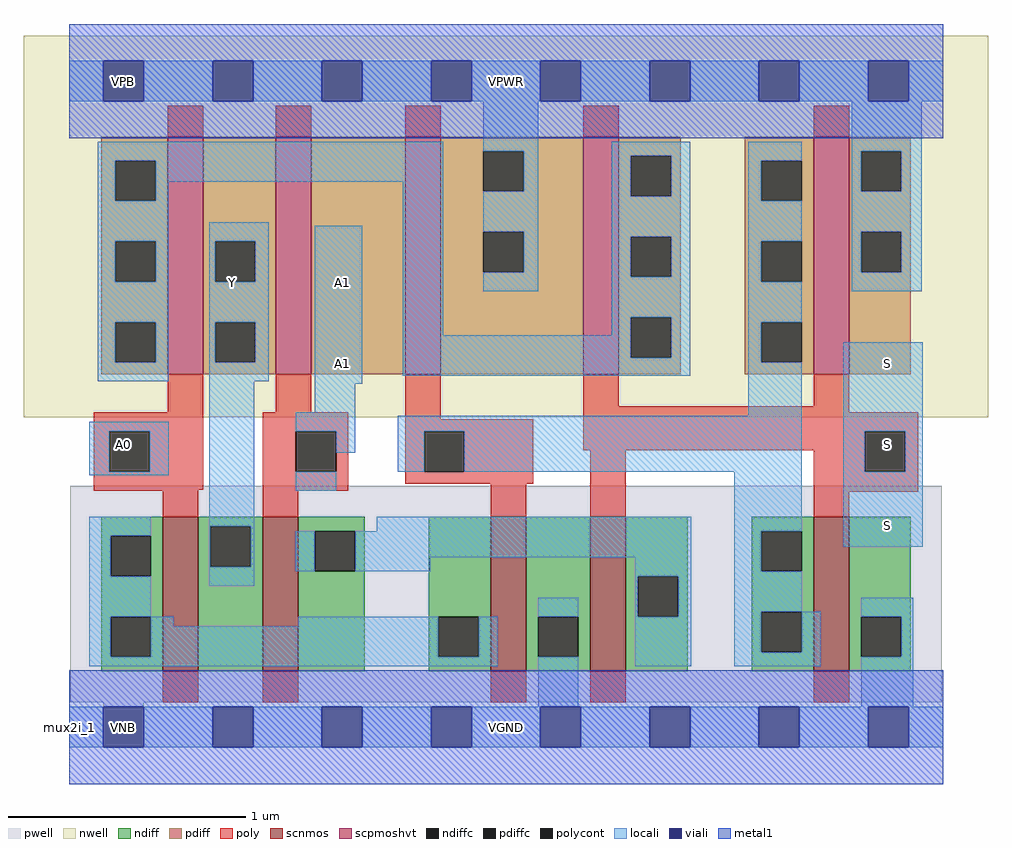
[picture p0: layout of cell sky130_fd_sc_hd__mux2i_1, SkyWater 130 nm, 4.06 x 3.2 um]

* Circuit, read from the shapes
.subckt sky130_fd_sc_hd__mux2i_1 A0 A1 S VGND VNB VPB VPWR Y
XM1 Y A0 n1 VNB sky130_fd_pr__nfet_01v8 w=0.65 l=0.15
XM2 n2 A1 Y VNB sky130_fd_pr__nfet_01v8 w=0.65 l=0.15
XM3 VGND n3 n1 VNB sky130_fd_pr__nfet_01v8 w=0.65 l=0.15
XM4 n2 S VGND VNB sky130_fd_pr__nfet_01v8 w=0.65 l=0.15
XM5 VGND S n3 VNB sky130_fd_pr__nfet_01v8 w=0.65 l=0.15
XM6 Y A0 n4 VPB sky130_fd_pr__pfet_01v8_hvt w=1 l=0.15
XM7 n5 A1 Y VPB sky130_fd_pr__pfet_01v8_hvt w=1 l=0.15
XM8 VPWR n3 n5 VPB sky130_fd_pr__pfet_01v8_hvt w=1 l=0.15
XM9 n4 S VPWR VPB sky130_fd_pr__pfet_01v8_hvt w=1 l=0.15
XM10 VPWR S n3 VPB sky130_fd_pr__pfet_01v8_hvt w=1 l=0.15
.ends

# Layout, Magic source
magic
tech sky130A
magscale 1 2
<< nwell >>
rect -38 261 774 582
<< pwell >>
rect 1 21 735 203
rect 29 -17 63 21
<< scnmos >>
rect 79 47 109 177
rect 163 47 193 177
rect 355 47 385 177
rect 439 47 469 177
rect 627 47 657 177
<< scpmoshvt >>
rect 83 297 113 497
rect 174 297 204 497
rect 283 297 313 497
rect 433 297 463 497
rect 627 297 657 497
<< ndiff >>
rect 27 161 79 177
rect 27 127 35 161
rect 69 127 79 161
rect 27 93 79 127
rect 27 59 35 93
rect 69 59 79 93
rect 27 47 79 59
rect 109 169 163 177
rect 109 135 119 169
rect 153 135 163 169
rect 109 47 163 135
rect 193 165 249 177
rect 193 131 207 165
rect 241 131 249 165
rect 193 47 249 131
rect 303 93 355 177
rect 303 59 311 93
rect 345 59 355 93
rect 303 47 355 59
rect 385 93 439 177
rect 385 59 395 93
rect 429 59 439 93
rect 385 47 439 59
rect 469 127 521 177
rect 469 93 479 127
rect 513 93 521 127
rect 469 47 521 93
rect 575 165 627 177
rect 575 131 583 165
rect 617 131 627 165
rect 575 97 627 131
rect 575 63 583 97
rect 617 63 627 97
rect 575 47 627 63
rect 657 93 709 177
rect 657 59 667 93
rect 701 59 709 93
rect 657 47 709 59
<< pdiff >>
rect 27 477 83 497
rect 27 443 39 477
rect 73 443 83 477
rect 27 409 83 443
rect 27 375 39 409
rect 73 375 83 409
rect 27 341 83 375
rect 27 307 39 341
rect 73 307 83 341
rect 27 297 83 307
rect 113 409 174 497
rect 113 375 123 409
rect 157 375 174 409
rect 113 341 174 375
rect 113 307 123 341
rect 157 307 174 341
rect 113 297 174 307
rect 204 297 283 497
rect 313 485 433 497
rect 313 451 349 485
rect 383 451 433 485
rect 313 417 433 451
rect 313 383 349 417
rect 383 383 433 417
rect 313 297 433 383
rect 463 481 515 497
rect 463 447 473 481
rect 507 447 515 481
rect 463 413 515 447
rect 463 379 473 413
rect 507 379 515 413
rect 463 345 515 379
rect 463 311 473 345
rect 507 311 515 345
rect 463 297 515 311
rect 569 477 627 497
rect 569 443 583 477
rect 617 443 627 477
rect 569 409 627 443
rect 569 375 583 409
rect 617 375 627 409
rect 569 341 627 375
rect 569 307 583 341
rect 617 307 627 341
rect 569 297 627 307
rect 657 485 709 497
rect 657 451 667 485
rect 701 451 709 485
rect 657 417 709 451
rect 657 383 667 417
rect 701 383 709 417
rect 657 297 709 383
<< ndiffc >>
rect 35 127 69 161
rect 35 59 69 93
rect 119 135 153 169
rect 207 131 241 165
rect 311 59 345 93
rect 395 59 429 93
rect 479 93 513 127
rect 583 131 617 165
rect 583 63 617 97
rect 667 59 701 93
<< pdiffc >>
rect 39 443 73 477
rect 39 375 73 409
rect 39 307 73 341
rect 123 375 157 409
rect 123 307 157 341
rect 349 451 383 485
rect 349 383 383 417
rect 473 447 507 481
rect 473 379 507 413
rect 473 311 507 345
rect 583 443 617 477
rect 583 375 617 409
rect 583 307 617 341
rect 667 451 701 485
rect 667 383 701 417
<< poly >>
rect 83 497 113 523
rect 174 497 204 523
rect 283 497 313 523
rect 433 497 463 523
rect 627 497 657 523
rect 83 265 113 297
rect 174 265 204 297
rect 21 249 113 265
rect 21 215 34 249
rect 68 215 113 249
rect 21 200 113 215
rect 163 249 235 265
rect 163 215 191 249
rect 225 215 235 249
rect 21 199 109 200
rect 79 177 109 199
rect 163 199 235 215
rect 283 259 313 297
rect 433 270 463 297
rect 627 270 657 297
rect 433 265 657 270
rect 283 249 391 259
rect 283 215 299 249
rect 333 215 391 249
rect 433 249 715 265
rect 433 233 670 249
rect 283 205 391 215
rect 163 177 193 199
rect 355 177 385 205
rect 439 177 469 233
rect 627 215 670 233
rect 704 215 715 249
rect 627 198 715 215
rect 627 177 657 198
rect 79 21 109 47
rect 163 21 193 47
rect 355 21 385 47
rect 439 21 469 47
rect 627 21 657 47
<< polycont >>
rect 34 215 68 249
rect 191 215 225 249
rect 299 215 333 249
rect 670 215 704 249
<< locali >>
rect 0 527 29 561
rect 63 527 121 561
rect 155 527 213 561
rect 247 527 305 561
rect 339 527 397 561
rect 431 527 489 561
rect 523 527 581 561
rect 615 527 673 561
rect 707 527 736 561
rect 24 477 315 493
rect 24 443 39 477
rect 73 459 315 477
rect 73 443 84 459
rect 24 409 84 443
rect 24 375 39 409
rect 73 375 84 409
rect 24 341 84 375
rect 24 307 39 341
rect 73 307 84 341
rect 24 291 84 307
rect 118 409 168 425
rect 118 375 123 409
rect 157 375 168 409
rect 118 341 168 375
rect 118 307 123 341
rect 157 307 168 341
rect 118 291 168 307
rect 17 249 84 257
rect 17 215 34 249
rect 68 215 84 249
rect 17 212 84 215
rect 17 161 69 177
rect 17 127 35 161
rect 17 93 69 127
rect 118 169 156 291
rect 207 289 247 422
rect 281 330 315 459
rect 349 485 395 527
rect 383 451 395 485
rect 349 417 395 451
rect 383 383 395 417
rect 349 367 395 383
rect 457 481 523 493
rect 457 447 473 481
rect 507 447 523 481
rect 457 413 523 447
rect 457 379 473 413
rect 507 379 523 413
rect 457 345 523 379
rect 457 330 473 345
rect 281 311 473 330
rect 507 311 523 345
rect 281 296 523 311
rect 572 477 617 493
rect 572 443 583 477
rect 572 409 617 443
rect 572 375 583 409
rect 572 341 617 375
rect 659 485 718 527
rect 659 451 667 485
rect 701 451 718 485
rect 659 417 718 451
rect 659 383 667 417
rect 701 383 718 417
rect 659 367 718 383
rect 572 307 583 341
rect 207 265 241 289
rect 191 249 241 265
rect 572 262 617 307
rect 225 231 241 249
rect 277 249 617 262
rect 277 215 299 249
rect 333 215 617 249
rect 191 199 225 215
rect 118 135 119 169
rect 153 135 156 169
rect 259 165 524 177
rect 118 119 156 135
rect 191 131 207 165
rect 241 143 524 165
rect 241 131 304 143
rect 477 127 524 143
rect 395 93 429 109
rect 17 59 35 93
rect 69 85 88 93
rect 193 85 311 93
rect 69 59 311 85
rect 345 59 361 93
rect 17 51 361 59
rect 395 17 429 59
rect 477 93 479 127
rect 513 93 524 127
rect 477 51 524 93
rect 560 165 617 215
rect 560 131 583 165
rect 652 249 719 324
rect 652 215 670 249
rect 704 215 719 249
rect 652 152 719 215
rect 560 97 617 131
rect 560 63 583 97
rect 617 63 633 97
rect 560 51 633 63
rect 667 93 711 109
rect 701 59 711 93
rect 667 17 711 59
rect 0 -17 29 17
rect 63 -17 121 17
rect 155 -17 213 17
rect 247 -17 305 17
rect 339 -17 397 17
rect 431 -17 489 17
rect 523 -17 581 17
rect 615 -17 673 17
rect 707 -17 736 17
<< viali >>
rect 29 527 63 561
rect 121 527 155 561
rect 213 527 247 561
rect 305 527 339 561
rect 397 527 431 561
rect 489 527 523 561
rect 581 527 615 561
rect 673 527 707 561
rect 29 -17 63 17
rect 121 -17 155 17
rect 213 -17 247 17
rect 305 -17 339 17
rect 397 -17 431 17
rect 489 -17 523 17
rect 581 -17 615 17
rect 673 -17 707 17
<< metal1 >>
rect 0 561 736 592
rect 0 527 29 561
rect 63 527 121 561
rect 155 527 213 561
rect 247 527 305 561
rect 339 527 397 561
rect 431 527 489 561
rect 523 527 581 561
rect 615 527 673 561
rect 707 527 736 561
rect 0 496 736 527
rect 0 17 736 48
rect 0 -17 29 17
rect 63 -17 121 17
rect 155 -17 213 17
rect 247 -17 305 17
rect 339 -17 397 17
rect 431 -17 489 17
rect 523 -17 581 17
rect 615 -17 673 17
rect 707 -17 736 17
rect 0 -48 736 -17
<< labels >>
flabel locali s 213 357 247 391 0 FreeSans 200 0 0 0 A1
port 2 nsew signal input
flabel locali s 672 221 706 255 0 FreeSans 200 0 0 0 S
port 3 nsew signal input
flabel locali s 672 153 706 187 0 FreeSans 200 0 0 0 S
port 3 nsew signal input
flabel locali s 672 289 706 323 0 FreeSans 200 0 0 0 S
port 3 nsew signal input
flabel locali s 29 221 63 255 0 FreeSans 200 0 0 0 A0
port 1 nsew signal input
flabel locali s 213 289 247 323 0 FreeSans 200 0 0 0 A1
port 2 nsew signal input
flabel locali s 121 357 155 391 0 FreeSans 200 0 0 0 Y
port 8 nsew signal output
flabel nwell s 29 527 63 561 0 FreeSans 200 0 0 0 VPB
port 6 nsew power bidirectional
flabel pwell s 29 -17 63 17 0 FreeSans 200 0 0 0 VNB
port 5 nsew ground bidirectional
flabel metal1 s 29 -17 63 17 0 FreeSans 200 0 0 0 VGND
port 4 nsew ground bidirectional abutment
flabel metal1 s 29 527 63 561 0 FreeSans 200 0 0 0 VPWR
port 7 nsew power bidirectional abutment
rlabel comment s 0 0 0 0 4 mux2i_1
rlabel metal1 s 0 -48 736 48 1 VGND
port 4 nsew ground bidirectional abutment
rlabel metal1 s 0 496 736 592 1 VPWR
port 7 nsew power bidirectional abutment
<< properties >>
string FIXED_BBOX 0 0 736 544
string GDS_END 1705468
string GDS_FILE $PDKPATH/libs.ref/sky130_fd_sc_hd/gds/sky130_fd_sc_hd.gds
string GDS_START 1698572
string LEFclass CORE
string LEFsite unithd
string LEFsymmetry X Y R90
string path 0.000 0.000 18.400 0.000 
<< end >>
